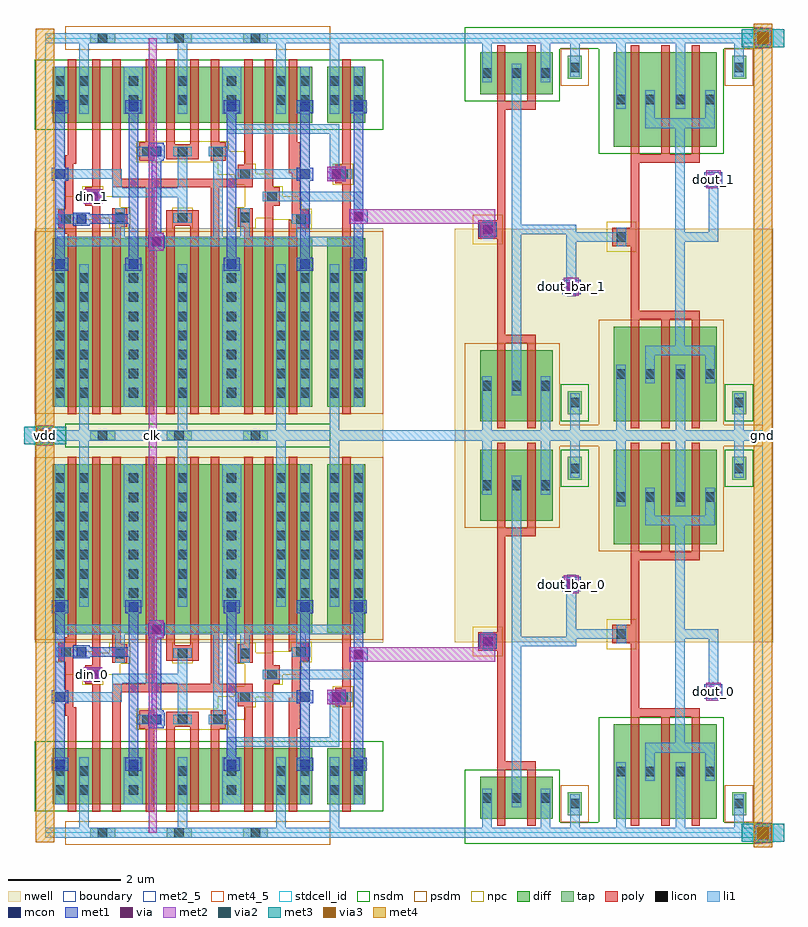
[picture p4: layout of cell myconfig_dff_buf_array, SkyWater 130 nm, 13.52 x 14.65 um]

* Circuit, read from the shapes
.subckt myconfig_dff_buf_array clk din_0 din_1 dout_0 dout_1 dout_bar_0 dout_bar_1 gnd vdd
XM1 gnd n1 n2 gnd sky130_fd_pr__nfet_01v8 w=1 l=0.15
XM2 gnd n3 n4 gnd sky130_fd_pr__nfet_01v8 w=1 l=0.15
XM3 n5 din_0 gnd gnd sky130_fd_pr__nfet_01v8 w=1 l=0.15
XM4 n6 din_1 gnd gnd sky130_fd_pr__nfet_01v8 w=1 l=0.15
XM5 n1 n7 n5 gnd sky130_fd_pr__nfet_01v8 w=1 l=0.15
XM6 n3 n8 n6 gnd sky130_fd_pr__nfet_01v8 w=1 l=0.15
XM7 n9 clk n1 gnd sky130_fd_pr__nfet_01v8 w=1 l=0.15
XM8 n10 clk n3 gnd sky130_fd_pr__nfet_01v8 w=1 l=0.15
XM9 gnd n2 n9 gnd sky130_fd_pr__nfet_01v8 w=1 l=0.15
XM10 gnd n4 n10 gnd sky130_fd_pr__nfet_01v8 w=1 l=0.15
XM11 n11 n2 gnd gnd sky130_fd_pr__nfet_01v8 w=1 l=0.15
XM12 n12 n4 gnd gnd sky130_fd_pr__nfet_01v8 w=1 l=0.15
XM13 myconfig_dff_buf_0_0/sky130_fd_bd_sram__openram_dff_0/QN clk n11 gnd sky130_fd_pr__nfet_01v8 w=1 l=0.15
XM14 myconfig_dff_buf_0_1/sky130_fd_bd_sram__openram_dff_0/QN clk n12 gnd sky130_fd_pr__nfet_01v8 w=1 l=0.15
XM15 n13 n7 myconfig_dff_buf_0_0/sky130_fd_bd_sram__openram_dff_0/QN gnd sky130_fd_pr__nfet_01v8 w=1 l=0.15
XM16 n14 n8 myconfig_dff_buf_0_1/sky130_fd_bd_sram__openram_dff_0/QN gnd sky130_fd_pr__nfet_01v8 w=1 l=0.15
XM17 gnd myconfig_dff_buf_0_0/myconfig_pinv_0_1/A n13 gnd sky130_fd_pr__nfet_01v8 w=1 l=0.15
XM18 gnd myconfig_dff_buf_0_1/myconfig_pinv_0_1/A n14 gnd sky130_fd_pr__nfet_01v8 w=1 l=0.15
XM19 n7 clk gnd gnd sky130_fd_pr__nfet_01v8 w=1 l=0.15
XM20 n8 clk gnd gnd sky130_fd_pr__nfet_01v8 w=1 l=0.15
XM21 myconfig_dff_buf_0_0/myconfig_pinv_0_1/A myconfig_dff_buf_0_0/sky130_fd_bd_sram__openram_dff_0/QN gnd gnd sky130_fd_pr__nfet_01v8 w=1 l=0.15
XM22 myconfig_dff_buf_0_1/myconfig_pinv_0_1/A myconfig_dff_buf_0_1/sky130_fd_bd_sram__openram_dff_0/QN gnd gnd sky130_fd_pr__nfet_01v8 w=1 l=0.15
XM23 dout_bar_0 myconfig_dff_buf_0_0/myconfig_pinv_0_1/A gnd gnd sky130_fd_pr__nfet_01v8 w=0.74 l=0.15 m=2
XM24 dout_bar_1 myconfig_dff_buf_0_1/myconfig_pinv_0_1/A gnd gnd sky130_fd_pr__nfet_01v8 w=0.74 l=0.15 m=2
XM25 dout_0 dout_bar_0 gnd gnd sky130_fd_pr__nfet_01v8 w=1.68 l=0.15 m=3
XM26 dout_1 dout_bar_1 gnd gnd sky130_fd_pr__nfet_01v8 w=1.68 l=0.15 m=3
XM27 vdd n1 n2 vdd sky130_fd_pr__pfet_01v8 w=3 l=0.15
XM28 vdd n3 n4 vdd sky130_fd_pr__pfet_01v8 w=3 l=0.15
XM29 n15 din_0 vdd vdd sky130_fd_pr__pfet_01v8 w=3 l=0.15
XM30 n16 din_1 vdd vdd sky130_fd_pr__pfet_01v8 w=3 l=0.15
XM31 n1 clk n15 vdd sky130_fd_pr__pfet_01v8 w=3 l=0.15
XM32 n3 clk n16 vdd sky130_fd_pr__pfet_01v8 w=3 l=0.15
XM33 n17 n7 n1 vdd sky130_fd_pr__pfet_01v8 w=3 l=0.15
XM34 n18 n8 n3 vdd sky130_fd_pr__pfet_01v8 w=3 l=0.15
XM35 vdd n2 n17 vdd sky130_fd_pr__pfet_01v8 w=3 l=0.15
XM36 vdd n4 n18 vdd sky130_fd_pr__pfet_01v8 w=3 l=0.15
XM37 n19 n2 vdd vdd sky130_fd_pr__pfet_01v8 w=3 l=0.15
XM38 n20 n4 vdd vdd sky130_fd_pr__pfet_01v8 w=3 l=0.15
XM39 myconfig_dff_buf_0_0/sky130_fd_bd_sram__openram_dff_0/QN n7 n19 vdd sky130_fd_pr__pfet_01v8 w=3 l=0.15
XM40 myconfig_dff_buf_0_1/sky130_fd_bd_sram__openram_dff_0/QN n8 n20 vdd sky130_fd_pr__pfet_01v8 w=3 l=0.15
XM41 n21 clk myconfig_dff_buf_0_0/sky130_fd_bd_sram__openram_dff_0/QN vdd sky130_fd_pr__pfet_01v8 w=3 l=0.15
XM42 n22 clk myconfig_dff_buf_0_1/sky130_fd_bd_sram__openram_dff_0/QN vdd sky130_fd_pr__pfet_01v8 w=3 l=0.15
XM43 vdd myconfig_dff_buf_0_0/myconfig_pinv_0_1/A n21 vdd sky130_fd_pr__pfet_01v8 w=3 l=0.15
XM44 vdd myconfig_dff_buf_0_1/myconfig_pinv_0_1/A n22 vdd sky130_fd_pr__pfet_01v8 w=3 l=0.15
XM45 n7 clk vdd vdd sky130_fd_pr__pfet_01v8 w=3 l=0.15
XM46 n8 clk vdd vdd sky130_fd_pr__pfet_01v8 w=3 l=0.15
XM47 myconfig_dff_buf_0_0/myconfig_pinv_0_1/A myconfig_dff_buf_0_0/sky130_fd_bd_sram__openram_dff_0/QN vdd vdd sky130_fd_pr__pfet_01v8 w=3 l=0.15
XM48 myconfig_dff_buf_0_1/myconfig_pinv_0_1/A myconfig_dff_buf_0_1/sky130_fd_bd_sram__openram_dff_0/QN vdd vdd sky130_fd_pr__pfet_01v8 w=3 l=0.15
XM49 dout_bar_0 myconfig_dff_buf_0_0/myconfig_pinv_0_1/A vdd vdd sky130_fd_pr__pfet_01v8 w=1.26 l=0.15 m=2
XM50 dout_bar_1 myconfig_dff_buf_0_1/myconfig_pinv_0_1/A vdd vdd sky130_fd_pr__pfet_01v8 w=1.26 l=0.15 m=2
XM51 dout_0 dout_bar_0 vdd vdd sky130_fd_pr__pfet_01v8 w=1.68 l=0.15 m=3
XM52 dout_1 dout_bar_1 vdd vdd sky130_fd_pr__pfet_01v8 w=1.68 l=0.15 m=3
.ends

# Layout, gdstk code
import gdstk
lib = gdstk.Library(unit=1e-6, precision=1e-09)
def R(c, l, rs):  # rectangles x0, y0, x1, y1
    for r in rs: c.add(gdstk.rectangle(r[:2], r[2:], *l))
def A(c, l, x, y, w, h, nx, ny, dx, dy):  # array of equal rectangles
    R(c, l, [(x+i*dx, y+j*dy, x+i*dx+w, y+j*dy+h) for i in range(nx) for j in range(ny)])
nwell = (64, 20)
diff = (65, 20)
tap = (65, 44)
poly = (66, 20)
licon = (66, 44)
li1 = (67, 20)
mcon = (67, 44)
met1 = (68, 20)
via = (68, 44)
met2_5 = (69, 5)
met2 = (69, 20)
via2 = (69, 44)
met3 = (70, 20)
via3 = (70, 44)
met4_5 = (71, 5)
met4 = (71, 20)
stdcell_id = (81, 4)
nsdm = (93, 44)
psdm = (94, 20)
npc = (95, 20)
boundary = (235, 4)

sky130_fd_bd_sram__openr = lib.new_cell('sky130_fd_bd_sram__openram_dff')
R(sky130_fd_bd_sram__openr, nwell, [(-0.18,3.38,6.02,7.335)])
R(sky130_fd_bd_sram__openr, diff, [(0.14,0.51,4.75,1.51), (5.02,0.51,5.7,1.51), (0.14,3.56,4.75,6.56), (5.02,3.56,5.7,6.56)])
A(sky130_fd_bd_sram__openr, tap, 0.805, -0.085, 0.44, 0.17, 3, 2, 1.36, 7.07)
R(sky130_fd_bd_sram__openr, poly, [(0.405,0.38,0.555,2.085), (0.835,0.38,0.985,2.655), (1.195,0.38,1.345,2.505), (1.795,0.38,1.945,1.855), (2.155,0.38,2.305,1.885), (2.585,0.38,2.735,1.885), (2.945,0.38,3.095,1.855), (3.545,0.38,3.695,2.255), (3.905,0.38,4.055,2.655), (4.335,0.38,4.485,1.855), (5.285,0.38,5.435,2.255), (1.675,1.855,1.945,2.185), (2.945,1.855,3.215,2.185), (4.335,1.855,4.54,2.405), (2.155,1.885,2.735,2.155), (0.355,2.085,0.555,2.235), (0.355,2.235,0.505,3.055), (3.425,2.255,3.695,2.505), (5.165,2.255,5.435,2.585), (4.39,2.405,4.54,3.055), (1.195,2.505,3.695,2.655), (5.285,2.585,5.435,6.69), (0.715,2.655,0.985,2.985), (1.795,2.655,1.945,6.69), (2.945,2.655,3.095,6.69), (3.905,2.655,4.175,2.985), (0.835,2.985,0.985,6.69), (3.905,2.985,4.055,6.69), (1.195,3.03,1.465,3.36), (3.425,3.03,3.695,3.36), (0.235,3.055,0.505,3.335), (4.39,3.055,4.69,3.235), (2.155,3.065,2.735,3.335), (4.335,3.235,4.69,3.385), (0.235,3.335,0.555,3.385), (2.155,3.335,2.305,6.69), (2.585,3.335,2.735,6.69), (1.195,3.36,1.345,6.69), (3.545,3.36,3.695,6.69), (0.35,3.385,0.555,3.485), (4.335,3.385,4.485,6.69), (0.405,3.485,0.555,6.69)])
A(sky130_fd_bd_sram__openr, licon, 0.94, -0.085, 0.17, 0.17, 3, 2, 1.36, 7.07)
A(sky130_fd_bd_sram__openr, licon, 0.61, 0.675, 0.17, 0.17, 5, 2, 0.875, 0.34)
A(sky130_fd_bd_sram__openr, licon, 1.725, 1.935, 0.17, 0.17, 3, 1, 0.635, 0)
A(sky130_fd_bd_sram__openr, licon, 0.18, 4.185, 0.17, 0.17, 1, 7, 0, 0.34)
A(sky130_fd_bd_sram__openr, licon, 0.61, 4.185, 0.17, 0.17, 5, 7, 0.875, 0.34)
A(sky130_fd_bd_sram__openr, licon, 4.54, 4.185, 0.17, 0.17, 1, 7, 0, 0.34)
A(sky130_fd_bd_sram__openr, licon, 5.06, 4.185, 0.17, 0.17, 1, 7, 0, 0.34)
A(sky130_fd_bd_sram__openr, licon, 5.49, 4.185, 0.17, 0.17, 1, 7, 0, 0.34)
R(sky130_fd_bd_sram__openr, licon, [(0.18,0.675,0.35,0.845), (4.54,0.675,4.71,0.845), (5.06,0.675,5.23,0.845), (5.49,0.675,5.66,0.845), (0.18,1.015,0.35,1.185), (4.54,1.015,4.71,1.185), (5.06,1.015,5.23,1.185), (5.49,1.015,5.66,1.185), (3.475,2.335,3.645,2.505), (5.215,2.335,5.385,2.505), (0.765,2.735,0.935,2.905), (3.955,2.735,4.125,2.905), (1.245,3.11,1.415,3.28), (3.475,3.11,3.645,3.28), (2.36,3.115,2.53,3.285), (0.285,3.135,0.455,3.305), (4.47,3.135,4.64,3.305)])
A(sky130_fd_bd_sram__openr, li1, 0.61, 0.09, 0.17, 1.26, 3, 1, 1.75, 0)
A(sky130_fd_bd_sram__openr, li1, 0.61, 4.02, 0.17, 2.96, 3, 1, 1.75, 0)
R(sky130_fd_bd_sram__openr, li1, [(0,-0.09,5.84,0.09), (0,-0.09,5.84,0.09), (5.06,0.09,5.23,1.35), (0.18,0.51,0.35,1.35), (1.4,0.51,1.74,1.35), (3.15,0.51,3.49,1.35), (4.54,0.51,4.71,1.355), (5.49,0.51,5.66,1.355), (3.235,1.35,3.405,1.535), (3.235,1.535,5.23,1.705), (5.06,1.705,5.23,2.335), (1.64,1.935,2.065,2.105), (2.28,1.935,2.61,2.105), (2.915,1.935,3.245,2.105), (2.36,2.105,2.53,2.66), (2.995,2.105,3.165,3.535), (0.18,2.335,1.365,2.505), (3.395,2.335,4.71,2.505), (5.06,2.335,5.465,2.505), (1.195,2.505,1.365,2.66), (1.195,2.66,2.53,2.83), (0.685,2.735,1.015,2.905), (3.875,2.735,5.66,2.905), (2.36,2.83,2.53,3.115), (5.49,2.905,5.66,3.26), (1.245,3.03,1.415,3.535), (3.475,3.03,3.645,3.535), (2.28,3.115,2.61,3.285), (0.205,3.135,0.735,3.305), (4.39,3.135,4.72,3.305), (4.47,3.305,4.64,3.535), (0.205,3.535,5.66,3.705), (0.18,3.935,0.35,6.56), (1.485,3.935,1.655,4.02), (3.235,3.935,3.405,4.02), (4.54,3.935,4.71,6.56), (5.49,3.935,5.66,6.56), (1.4,4.02,1.74,6.56), (3.15,4.02,3.49,6.56), (5.06,4.02,5.23,6.98), (0,6.98,5.84,7.16), (0,6.98,5.84,7.16), (0,6.98,5.84,7.16)])
R(sky130_fd_bd_sram__openr, mcon, [(0.18,1.135,0.35,1.305), (1.485,1.135,1.655,1.305), (3.235,1.135,3.405,1.305), (4.54,1.135,4.71,1.305), (5.49,1.135,5.66,1.305), (1.895,1.935,2.065,2.105), (0.18,2.335,0.35,2.505), (4.54,2.335,4.71,2.505), (5.1,2.335,5.27,2.505), (0.765,2.735,0.935,2.905), (5.49,3.09,5.66,3.26), (0.565,3.135,0.735,3.305), (1.895,3.535,2.065,3.705), (0.18,3.935,0.35,4.105), (1.485,3.935,1.655,4.105), (3.235,3.935,3.405,4.105), (4.54,3.935,4.71,4.105), (5.49,3.935,5.66,4.105)])
R(sky130_fd_bd_sram__openr, met1, [(0.12,1.105,0.41,1.335), (1.425,1.105,1.715,1.335), (3.175,1.105,3.465,1.335), (4.48,1.105,4.77,1.335), (5.43,1.105,5.72,1.335), (0.18,1.335,0.35,2.305), (1.485,1.335,1.655,3.135), (3.235,1.335,3.405,3.905), (4.54,1.335,4.71,2.305), (5.49,1.335,5.66,3.045), (1.845,1.86,2.115,1.905), (1.835,1.905,2.125,2.135), (1.845,2.135,2.115,2.18), (1.895,2.18,2.065,3.46), (5.02,2.29,5.35,2.55), (0.12,2.305,0.41,2.535), (4.48,2.305,4.77,2.535), (0.18,2.535,0.35,3.905), (4.54,2.535,4.71,3.905), (0.685,2.69,1.015,2.95), (5.41,3.045,5.74,3.305), (0.505,3.105,0.795,3.135), (0.505,3.135,1.655,3.305), (0.505,3.305,0.795,3.335), (1.485,3.305,1.655,3.905), (5.49,3.305,5.66,3.905), (1.845,3.46,2.115,3.505), (1.835,3.505,2.125,3.735), (1.845,3.735,2.115,3.78), (0.12,3.905,0.41,4.135), (1.425,3.905,1.715,4.135), (3.175,3.905,3.465,4.135), (4.48,3.905,4.77,4.135), (5.43,3.905,5.72,4.135)])
R(sky130_fd_bd_sram__openr, via, [(5.11,2.345,5.26,2.495), (0.775,2.745,0.925,2.895), (5.5,3.1,5.65,3.25), (1.905,3.545,2.055,3.695)])
R(sky130_fd_bd_sram__openr, met2_5, [(0.685,2.69,1.015,2.95), (5.41,3.045,5.74,3.305), (1.845,3.46,2.115,3.78)])
R(sky130_fd_bd_sram__openr, met2, [(5.02,2.29,5.35,2.55), (0.685,2.69,1.015,2.95), (0.685,2.69,1.015,2.95), (0.685,2.69,1.015,2.95), (5.41,3.045,5.74,3.305), (5.41,3.045,5.74,3.305), (5.41,3.045,5.74,3.305), (1.845,3.46,2.115,3.78), (1.845,3.46,2.115,3.78), (1.845,3.46,2.115,3.78)])
R(sky130_fd_bd_sram__openr, stdcell_id, [(0,0,5.84,7.07)])
R(sky130_fd_bd_sram__openr, nsdm, [(-0.18,0.385,6.02,1.635), (0.36,6.86,5.075,7.07), (0.36,7.07,5.075,7.28)])
R(sky130_fd_bd_sram__openr, psdm, [(0.36,-0.21,5.075,0), (0.36,0,5.075,0.21), (-0.18,3.435,6.02,6.685)])
R(sky130_fd_bd_sram__openr, npc, [(1.625,1.835,3.265,2.01), (1.625,2.01,3.57,2.205), (3.07,2.205,3.57,2.235), (3.07,2.235,3.745,2.41), (5.115,2.235,5.485,2.605), (3.07,2.41,4.05,2.43), (3.375,2.43,4.05,2.605), (3.55,2.605,4.05,2.635), (0.665,2.635,1.035,2.81), (3.55,2.635,4.225,2.81), (0.36,2.81,1.34,3.01), (3.55,2.81,4.565,3.01), (0.36,3.01,1.515,3.035), (3.375,3.01,4.565,3.035), (2.26,3.015,2.63,3.385), (0.185,3.035,1.515,3.205), (3.375,3.035,4.74,3.205), (0.185,3.205,0.86,3.23), (1.145,3.205,1.515,3.38), (3.375,3.205,3.745,3.38), (4.03,3.205,4.74,3.23), (0.185,3.23,0.555,3.405), (4.37,3.23,4.74,3.405)])
R(sky130_fd_bd_sram__openr, boundary, [(0,0,5.84,7.07)])
sky130_fd_bd_sram__openr.add(gdstk.Label('QN', (5.035,2.52), layer=69, texttype=5))
sky130_fd_bd_sram__openr.add(gdstk.Label('CLK', (1.98,3.62), layer=69, texttype=5))
sky130_fd_bd_sram__openr.add(gdstk.Label('D', (0.85,2.82), layer=69, texttype=5))
sky130_fd_bd_sram__openr.add(gdstk.Label('Q', (5.575,3.175), layer=69, texttype=5))
sky130_fd_bd_sram__openr.add(gdstk.Label('VDD', (2.74,7.08), layer=67, texttype=5))
sky130_fd_bd_sram__openr.add(gdstk.Label('GND', (2.72,0), layer=67, texttype=5))
sky130_fd_bd_sram__openr.add(gdstk.Label('D', (0.85,2.82), layer=69, texttype=5))
sky130_fd_bd_sram__openr.add(gdstk.Label('Q', (5.575,3.175), layer=69, texttype=5))
sky130_fd_bd_sram__openr.add(gdstk.Label('clk', (1.98,3.62), layer=69, texttype=5))
sky130_fd_bd_sram__openr.add(gdstk.Label('vdd', (2.92,7.07), layer=67, texttype=5))
sky130_fd_bd_sram__openr.add(gdstk.Label('gnd', (2.92,0), layer=67, texttype=5))

myconfig_contact_11 = lib.new_cell('myconfig_contact_11')
R(myconfig_contact_11, nwell, [(-0.295,-0.255,0.545,0.585)])
R(myconfig_contact_11, diff, [(0,0.02,0.25,0.31)])
R(myconfig_contact_11, licon, [(0.04,0.08,0.21,0.25)])
R(myconfig_contact_11, li1, [(0.04,0,0.21,0.33)])
R(myconfig_contact_11, stdcell_id, [(-0.295,-0.255,0.545,0.585)])
R(myconfig_contact_11, psdm, [(-0.125,-0.105,0.375,0.435)])
R(myconfig_contact_11, boundary, [(-0.295,-0.255,0.545,0.585)])

myconfig_pmos_m2_w1_260_ = lib.new_cell('myconfig_pmos_m2_w1_260_sli_dli_da_p')
R(myconfig_pmos_m2_w1_260_, nwell, [(-0.27,-0.27,1.56,1.53)])
R(myconfig_pmos_m2_w1_260_, diff, [(0,0,1.29,1.26)])
R(myconfig_pmos_m2_w1_260_, poly, [(0.3,-0.28,0.99,-0.13), (0.3,-0.13,0.45,1.39), (0.84,-0.13,0.99,1.39)])
A(myconfig_pmos_m2_w1_260_, li1, 0.04, 0.465, 0.17, 0.33, 3, 1, 0.52, 0)
R(myconfig_pmos_m2_w1_260_, stdcell_id, [(-0.27,-0.28,1.56,1.53)])
R(myconfig_pmos_m2_w1_260_, psdm, [(-0.125,-0.125,1.415,1.385)])
R(myconfig_pmos_m2_w1_260_, boundary, [(-0.27,-0.28,1.56,1.53)])
myconfig_pmos_m2_w1_260_.add(gdstk.Reference(myconfig_contact_11, (0,0.465)))
myconfig_pmos_m2_w1_260_.add(gdstk.Reference(myconfig_contact_11, (0.52,0.465)))
myconfig_pmos_m2_w1_260_.add(gdstk.Reference(myconfig_contact_11, (1.04,0.465)))
myconfig_pmos_m2_w1_260_.add(gdstk.Label('G', (0.645,-0.205), layer=66, texttype=5))
myconfig_pmos_m2_w1_260_.add(gdstk.Label('S', (1.165,0.63), layer=67, texttype=5))
myconfig_pmos_m2_w1_260_.add(gdstk.Label('S', (0.125,0.63), layer=67, texttype=5))
myconfig_pmos_m2_w1_260_.add(gdstk.Label('D', (0.645,0.63), layer=67, texttype=5))

myconfig_contact_10 = lib.new_cell('myconfig_contact_10')
R(myconfig_contact_10, diff, [(0,0.02,0.25,0.31)])
R(myconfig_contact_10, licon, [(0.04,0.08,0.21,0.25)])
R(myconfig_contact_10, li1, [(0.04,0,0.21,0.33)])
R(myconfig_contact_10, stdcell_id, [(-0.125,-0.105,0.375,0.435)])
R(myconfig_contact_10, nsdm, [(-0.125,-0.105,0.375,0.435)])
R(myconfig_contact_10, boundary, [(-0.125,-0.105,0.375,0.435)])

myconfig_nmos_m2_w0_740_ = lib.new_cell('myconfig_nmos_m2_w0_740_sli_dli_da_p')
R(myconfig_nmos_m2_w0_740_, diff, [(0,0,1.29,0.74)])
R(myconfig_nmos_m2_w0_740_, poly, [(0.3,-0.13,0.45,0.87), (0.84,-0.13,0.99,0.87), (0.3,0.87,0.99,1.02)])
A(myconfig_nmos_m2_w0_740_, li1, 0.04, 0.205, 0.17, 0.33, 3, 1, 0.52, 0)
R(myconfig_nmos_m2_w0_740_, stdcell_id, [(-0.125,-0.13,1.415,1.02)])
R(myconfig_nmos_m2_w0_740_, nsdm, [(-0.125,-0.125,1.415,0.865)])
R(myconfig_nmos_m2_w0_740_, boundary, [(-0.125,-0.13,1.415,1.02)])
myconfig_nmos_m2_w0_740_.add(gdstk.Reference(myconfig_contact_10, (0,0.205)))
myconfig_nmos_m2_w0_740_.add(gdstk.Reference(myconfig_contact_10, (0.52,0.205)))
myconfig_nmos_m2_w0_740_.add(gdstk.Reference(myconfig_contact_10, (1.04,0.205)))
myconfig_nmos_m2_w0_740_.add(gdstk.Label('G', (0.645,0.945), layer=66, texttype=5))
myconfig_nmos_m2_w0_740_.add(gdstk.Label('S', (0.125,0.37), layer=67, texttype=5))
myconfig_nmos_m2_w0_740_.add(gdstk.Label('S', (1.165,0.37), layer=67, texttype=5))
myconfig_nmos_m2_w0_740_.add(gdstk.Label('D', (0.645,0.37), layer=67, texttype=5))

myconfig_contact_28 = lib.new_cell('myconfig_contact_28')
R(myconfig_contact_28, nwell, [(-0.295,-0.215,0.545,0.625)])
R(myconfig_contact_28, tap, [(0,0,0.25,0.41)])
R(myconfig_contact_28, licon, [(0.04,0.12,0.21,0.29)])
R(myconfig_contact_28, li1, [(0.04,0.04,0.21,0.37)])
R(myconfig_contact_28, stdcell_id, [(-0.295,-0.215,0.545,0.625)])
R(myconfig_contact_28, nsdm, [(-0.125,-0.125,0.375,0.535)])
R(myconfig_contact_28, boundary, [(-0.295,-0.215,0.545,0.625)])

myconfig_contact_29 = lib.new_cell('myconfig_contact_29')
R(myconfig_contact_29, tap, [(0,0,0.25,0.41)])
R(myconfig_contact_29, licon, [(0.04,0.12,0.21,0.29)])
R(myconfig_contact_29, li1, [(0.04,0.04,0.21,0.37)])
R(myconfig_contact_29, stdcell_id, [(-0.125,-0.125,0.375,0.535)])
R(myconfig_contact_29, psdm, [(-0.125,-0.125,0.375,0.535)])
R(myconfig_contact_29, boundary, [(-0.125,-0.125,0.375,0.535)])

myconfig_contact_15 = lib.new_cell('myconfig_contact_15')
R(myconfig_contact_15, poly, [(0,0,0.33,0.33)])
R(myconfig_contact_15, licon, [(0.08,0.08,0.25,0.25)])
R(myconfig_contact_15, li1, [(0.08,0,0.25,0.33)])
R(myconfig_contact_15, stdcell_id, [(-0.1,-0.1,0.43,0.43)])
R(myconfig_contact_15, npc, [(-0.1,-0.1,0.43,0.43)])
R(myconfig_contact_15, boundary, [(-0.1,-0.1,0.43,0.43)])

myconfig_pinv_0 = lib.new_cell('myconfig_pinv_0')
R(myconfig_pinv_0, nwell, [(-0.18,3.395,2.56,7.355)])
R(myconfig_pinv_0, poly, [(0.57,1.275,0.72,5.275), (0.405,3.24,0.57,3.57)])
R(myconfig_pinv_0, li1, [(0,-0.085,2.38,0.085), (0.31,-0.085,0.48,0.46), (1.35,-0.085,1.52,0.46), (1.87,0,2.04,0.52), (0.83,0.46,1,6.35), (0.32,3.24,0.49,3.57), (0.915,3.32,1.085,3.49), (0.31,6.02,0.48,7.155), (1.35,6.02,1.52,7.155), (1.87,6.485,2.04,7.07), (0,6.985,2.38,7.155)])
R(myconfig_pinv_0, stdcell_id, [(0,0,2.38,7.07), (0,0,2.38,7.07)])
R(myconfig_pinv_0, nsdm, [(0,-0.19,2.38,0.19), (0,0,1.685,1.12)])
R(myconfig_pinv_0, psdm, [(0,5.43,1.685,7.07), (0,6.88,2.38,7.26)])
R(myconfig_pinv_0, boundary, [(0,0,2.38,7.07), (0,0,2.38,7.07)])
myconfig_pinv_0.add(gdstk.Reference(myconfig_pmos_m2_w1_260_, (0.27,5.555)))
myconfig_pinv_0.add(gdstk.Reference(myconfig_nmos_m2_w0_740_, (0.27,0.255)))
myconfig_pinv_0.add(gdstk.Reference(myconfig_contact_28, (1.83,6.28)))
myconfig_pinv_0.add(gdstk.Reference(myconfig_contact_29, (1.83,0.315)))
myconfig_pinv_0.add(gdstk.Reference(myconfig_contact_15, (0.24,3.24)))
myconfig_pinv_0.add(gdstk.Label('A', (0.405,3.405), layer=67, texttype=5))
myconfig_pinv_0.add(gdstk.Label('Z', (1,3.405), layer=67, texttype=5))
myconfig_pinv_0.add(gdstk.Label('gnd', (1.19,0), layer=67, texttype=5))
myconfig_pinv_0.add(gdstk.Label('vdd', (1.19,7.07), layer=67, texttype=5))

myconfig_pmos_m3_w1_680_ = lib.new_cell('myconfig_pmos_m3_w1_680_sli_dli_da_p')
R(myconfig_pmos_m3_w1_680_, nwell, [(-0.27,-0.27,2.1,1.95)])
R(myconfig_pmos_m3_w1_680_, diff, [(0,0,1.83,1.68)])
A(myconfig_pmos_m3_w1_680_, poly, 0.3, -0.13, 0.15, 1.94, 3, 1, 0.54, 0)
R(myconfig_pmos_m3_w1_680_, poly, [(0.3,-0.28,1.53,-0.13)])
R(myconfig_pmos_m3_w1_680_, li1, [(0.56,0.335,1.79,0.505), (0.56,0.42,0.73,0.84), (1.62,0.42,1.79,0.84), (0.04,0.675,0.21,1.005), (1.1,0.675,1.27,1.005)])
R(myconfig_pmos_m3_w1_680_, stdcell_id, [(-0.27,-0.28,2.1,1.95)])
R(myconfig_pmos_m3_w1_680_, psdm, [(-0.125,-0.125,1.955,1.805)])
R(myconfig_pmos_m3_w1_680_, boundary, [(-0.27,-0.28,2.1,1.95)])
myconfig_pmos_m3_w1_680_.add(gdstk.Reference(myconfig_contact_11, (0,0.675)))
myconfig_pmos_m3_w1_680_.add(gdstk.Reference(myconfig_contact_11, (0.52,0.675)))
myconfig_pmos_m3_w1_680_.add(gdstk.Reference(myconfig_contact_11, (1.06,0.675)))
myconfig_pmos_m3_w1_680_.add(gdstk.Reference(myconfig_contact_11, (1.58,0.675)))
myconfig_pmos_m3_w1_680_.add(gdstk.Label('G', (0.915,-0.205), layer=66, texttype=5))
myconfig_pmos_m3_w1_680_.add(gdstk.Label('S', (0.125,0.84), layer=67, texttype=5))
myconfig_pmos_m3_w1_680_.add(gdstk.Label('S', (1.185,0.84), layer=67, texttype=5))
myconfig_pmos_m3_w1_680_.add(gdstk.Label('D', (1.175,0.42), layer=67, texttype=5))

myconfig_nmos_m3_w1_680_ = lib.new_cell('myconfig_nmos_m3_w1_680_sli_dli_da_p')
R(myconfig_nmos_m3_w1_680_, diff, [(0,0,1.83,1.68)])
A(myconfig_nmos_m3_w1_680_, poly, 0.3, -0.13, 0.15, 1.94, 3, 1, 0.54, 0)
R(myconfig_nmos_m3_w1_680_, poly, [(0.3,1.81,1.53,1.96)])
R(myconfig_nmos_m3_w1_680_, li1, [(0.04,0.675,0.21,1.005), (1.1,0.675,1.27,1.005), (0.56,0.84,0.73,1.26), (1.62,0.84,1.79,1.26), (0.56,1.175,1.79,1.345)])
R(myconfig_nmos_m3_w1_680_, stdcell_id, [(-0.125,-0.13,1.955,1.96)])
R(myconfig_nmos_m3_w1_680_, nsdm, [(-0.125,-0.125,1.955,1.805)])
R(myconfig_nmos_m3_w1_680_, boundary, [(-0.125,-0.13,1.955,1.96)])
myconfig_nmos_m3_w1_680_.add(gdstk.Reference(myconfig_contact_10, (0,0.675)))
myconfig_nmos_m3_w1_680_.add(gdstk.Reference(myconfig_contact_10, (0.52,0.675)))
myconfig_nmos_m3_w1_680_.add(gdstk.Reference(myconfig_contact_10, (1.06,0.675)))
myconfig_nmos_m3_w1_680_.add(gdstk.Reference(myconfig_contact_10, (1.58,0.675)))
myconfig_nmos_m3_w1_680_.add(gdstk.Label('G', (0.915,1.885), layer=66, texttype=5))
myconfig_nmos_m3_w1_680_.add(gdstk.Label('S', (0.125,0.84), layer=67, texttype=5))
myconfig_nmos_m3_w1_680_.add(gdstk.Label('S', (1.185,0.84), layer=67, texttype=5))
myconfig_nmos_m3_w1_680_.add(gdstk.Label('D', (1.175,1.26), layer=67, texttype=5))

myconfig_pinv_1 = lib.new_cell('myconfig_pinv_1')
R(myconfig_pinv_1, nwell, [(-0.18,3.395,3.1,7.355)])
R(myconfig_pinv_1, poly, [(0.57,2.215,0.72,4.855), (0.405,3.37,0.57,3.7)])
R(myconfig_pinv_1, li1, [(0,-0.085,2.92,0.085), (0.31,-0.085,0.48,0.93), (1.37,-0.085,1.54,0.93), (2.41,0,2.58,0.52), (1.36,1.43,1.53,5.64), (0.32,3.37,0.49,3.7), (1.445,3.45,1.615,3.62), (0.31,5.81,0.48,7.155), (1.37,5.81,1.54,7.155), (2.41,6.485,2.58,7.07), (0,6.985,2.92,7.155)])
R(myconfig_pinv_1, stdcell_id, [(0,0,2.92,7.07), (0,0,2.92,7.07)])
R(myconfig_pinv_1, nsdm, [(0,-0.19,2.92,0.19), (0,0,2.225,2.06)])
R(myconfig_pinv_1, psdm, [(0,5.01,2.225,7.07), (0,6.88,2.92,7.26)])
R(myconfig_pinv_1, boundary, [(0,0,2.92,7.07), (0,0,2.92,7.07)])
myconfig_pinv_1.add(gdstk.Reference(myconfig_pmos_m3_w1_680_, (0.27,5.135)))
myconfig_pinv_1.add(gdstk.Reference(myconfig_nmos_m3_w1_680_, (0.27,0.255)))
myconfig_pinv_1.add(gdstk.Reference(myconfig_contact_28, (2.37,6.28)))
myconfig_pinv_1.add(gdstk.Reference(myconfig_contact_29, (2.37,0.315)))
myconfig_pinv_1.add(gdstk.Reference(myconfig_contact_15, (0.24,3.37)))
myconfig_pinv_1.add(gdstk.Label('A', (0.405,3.535), layer=67, texttype=5))
myconfig_pinv_1.add(gdstk.Label('Z', (1.53,3.535), layer=67, texttype=5))
myconfig_pinv_1.add(gdstk.Label('gnd', (1.46,0), layer=67, texttype=5))
myconfig_pinv_1.add(gdstk.Label('vdd', (1.46,7.07), layer=67, texttype=5))

myconfig_contact_13 = lib.new_cell('myconfig_contact_13')
R(myconfig_contact_13, li1, [(0.06,0,0.23,0.33)])
R(myconfig_contact_13, mcon, [(0.06,0.08,0.23,0.25)])
R(myconfig_contact_13, met1, [(0,0.05,0.29,0.28)])
R(myconfig_contact_13, stdcell_id, [(0,0,0.29,0.33)])
R(myconfig_contact_13, boundary, [(0,0,0.29,0.33)])

myconfig_contact_18 = lib.new_cell('myconfig_contact_18')
R(myconfig_contact_18, met1, [(0,0.03,0.32,0.29)])
R(myconfig_contact_18, via, [(0.085,0.085,0.235,0.235)])
R(myconfig_contact_18, met2, [(0.03,0,0.29,0.32)])
R(myconfig_contact_18, stdcell_id, [(0,0,0.32,0.32)])
R(myconfig_contact_18, boundary, [(0,0,0.32,0.32)])

myconfig_dff_buf_0 = lib.new_cell('myconfig_dff_buf_0')
R(myconfig_dff_buf_0, li1, [(0,-0.09,12.77,0.09), (11.805,2.515,11.975,3.535), (8.47,3.32,9.36,3.49), (9.275,3.32,9.445,3.49), (9.275,3.405,9.445,3.535), (9.275,3.405,9.445,4.425), (9.275,3.45,9.445,3.62), (9.36,3.45,10.255,3.62), (11.38,3.45,11.89,3.62), (11.805,3.45,11.975,3.62), (0,6.98,12.77,7.16)])
R(myconfig_dff_buf_0, met1, [(11.73,2.385,12.05,2.645), (7.715,3.275,8.035,3.535), (9.205,4.295,9.525,4.555)])
R(myconfig_dff_buf_0, met2_5, [(11.82,2.445,11.96,2.585), (0.685,2.69,1.015,2.95), (1.845,3.46,2.115,3.78), (9.29,4.355,9.43,4.495)])
R(myconfig_dff_buf_0, met2, [(11.82,2.445,11.96,2.585), (0.685,2.69,1.015,2.95), (5.575,3.045,7.875,3.305), (7.745,3.045,8.005,3.305), (7.745,3.175,8.005,3.405), (1.845,3.46,2.115,3.78), (9.29,4.355,9.43,4.495)])
R(myconfig_dff_buf_0, stdcell_id, [(0,0,12.77,7.07)])
R(myconfig_dff_buf_0, boundary, [(0,0,12.77,7.07)])
myconfig_dff_buf_0.add(gdstk.Reference(sky130_fd_bd_sram__openr, (0,0)))
myconfig_dff_buf_0.add(gdstk.Reference(myconfig_pinv_0, (7.47,0)))
myconfig_dff_buf_0.add(gdstk.Reference(myconfig_pinv_1, (9.85,0)))
myconfig_dff_buf_0.add(gdstk.Reference(myconfig_contact_13, (7.73,3.24)))
myconfig_dff_buf_0.add(gdstk.Reference(myconfig_contact_18, (7.715,3.245)))
myconfig_dff_buf_0.add(gdstk.Reference(myconfig_contact_13, (11.745,2.35)))
myconfig_dff_buf_0.add(gdstk.Reference(myconfig_contact_18, (11.73,2.355)))
myconfig_dff_buf_0.add(gdstk.Reference(myconfig_contact_13, (9.22,4.26)))
myconfig_dff_buf_0.add(gdstk.Reference(myconfig_contact_18, (9.2,4.265)))
myconfig_dff_buf_0.add(gdstk.Label('vdd', (6.385,7.07), layer=67, texttype=5))
myconfig_dff_buf_0.add(gdstk.Label('gnd', (6.385,0), layer=67, texttype=5))
myconfig_dff_buf_0.add(gdstk.Label('clk', (1.98,3.62), layer=69, texttype=5))
myconfig_dff_buf_0.add(gdstk.Label('D', (0.85,2.82), layer=69, texttype=5))
myconfig_dff_buf_0.add(gdstk.Label('Q', (11.89,2.515), layer=69, texttype=5))
myconfig_dff_buf_0.add(gdstk.Label('Qb', (9.36,4.425), layer=69, texttype=5))

myconfig_contact_21 = lib.new_cell('myconfig_contact_21')
R(myconfig_contact_21, met2, [(0.025,0,0.305,0.37)])
R(myconfig_contact_21, via2, [(0.065,0.085,0.265,0.285)])
R(myconfig_contact_21, met3, [(0,0.02,0.33,0.35)])
R(myconfig_contact_21, stdcell_id, [(0,0,0.33,0.37)])
R(myconfig_contact_21, boundary, [(0,0,0.33,0.37)])

myconfig_contact_22 = lib.new_cell('myconfig_contact_22')
R(myconfig_contact_22, met3, [(0,0.005,0.38,0.325)])
R(myconfig_contact_22, via3, [(0.09,0.065,0.29,0.265)])
R(myconfig_contact_22, met4, [(0.025,0,0.355,0.33)])
R(myconfig_contact_22, stdcell_id, [(0,0,0.38,0.33)])
R(myconfig_contact_22, boundary, [(0,0,0.38,0.33)])

myconfig_dff_buf_array = lib.new_cell('myconfig_dff_buf_array')
R(myconfig_dff_buf_array, li1, [(0,-0.09,12.77,0.09), (0,6.98,12.77,7.16), (0,6.98,12.77,7.16), (0,14.05,12.77,14.23)])
R(myconfig_dff_buf_array, met1, [(12.61,-0.13,12.93,0.13), (-0.16,6.94,0.16,7.2), (-0.16,6.94,0.16,7.2), (12.61,14.01,12.93,14.27)])
R(myconfig_dff_buf_array, met2_5, [(1.845,0,1.985,14.14), (11.82,2.445,11.96,2.585), (0.685,2.69,1.015,2.95), (9.29,4.355,9.43,4.495), (9.29,9.645,9.43,9.785), (0.685,11.19,1.015,11.45), (11.82,11.555,11.96,11.695)])
R(myconfig_dff_buf_array, met2, [(12.63,-0.12,12.91,0.12), (1.845,0,1.985,14.14), (11.82,2.445,11.96,2.585), (0.685,2.69,1.015,2.95), (9.29,4.355,9.43,4.495), (-0.14,6.95,0.14,7.19), (-0.14,6.95,0.14,7.19), (9.29,9.645,9.43,9.785), (0.685,11.19,1.015,11.45), (11.82,11.555,11.96,11.695), (12.63,14.02,12.91,14.26)])
R(myconfig_dff_buf_array, met3, [(12.395,-0.16,13.145,0.16), (-0.375,6.91,0.375,7.23), (-0.375,6.91,0.375,7.23), (12.395,13.98,13.145,14.3)])
R(myconfig_dff_buf_array, met4_5, [(12.605,-0.255,12.935,14.395), (-0.165,-0.165,0.165,14.305)])
R(myconfig_dff_buf_array, met4, [(12.605,-0.255,12.935,14.395), (-0.165,-0.165,0.165,14.305)])
R(myconfig_dff_buf_array, stdcell_id, [(0,0,12.77,14.14)])
R(myconfig_dff_buf_array, boundary, [(0,0,12.77,14.14)])
myconfig_dff_buf_array.add(gdstk.Reference(myconfig_dff_buf_0, (0,0)))
myconfig_dff_buf_array.add(gdstk.Reference(myconfig_dff_buf_0, (0,14.14), x_reflection=True))
myconfig_dff_buf_array.add(gdstk.Reference(myconfig_contact_13, (-0.145,6.905)))
myconfig_dff_buf_array.add(gdstk.Reference(myconfig_contact_18, (-0.16,6.91)))
myconfig_dff_buf_array.add(gdstk.Reference(myconfig_contact_21, (-0.165,6.885)))
myconfig_dff_buf_array.add(gdstk.Reference(myconfig_contact_22, (-0.19,6.905)))
myconfig_dff_buf_array.add(gdstk.Reference(myconfig_contact_13, (-0.145,6.905)))
myconfig_dff_buf_array.add(gdstk.Reference(myconfig_contact_18, (-0.16,6.91)))
myconfig_dff_buf_array.add(gdstk.Reference(myconfig_contact_21, (-0.165,6.885)))
myconfig_dff_buf_array.add(gdstk.Reference(myconfig_contact_22, (-0.19,6.905)))
myconfig_dff_buf_array.add(gdstk.Reference(myconfig_contact_13, (12.625,-0.165)))
myconfig_dff_buf_array.add(gdstk.Reference(myconfig_contact_18, (12.61,-0.16)))
myconfig_dff_buf_array.add(gdstk.Reference(myconfig_contact_21, (12.605,-0.185)))
myconfig_dff_buf_array.add(gdstk.Reference(myconfig_contact_22, (12.58,-0.165)))
myconfig_dff_buf_array.add(gdstk.Reference(myconfig_contact_13, (12.625,13.975)))
myconfig_dff_buf_array.add(gdstk.Reference(myconfig_contact_18, (12.61,13.98)))
myconfig_dff_buf_array.add(gdstk.Reference(myconfig_contact_21, (12.605,13.955)))
myconfig_dff_buf_array.add(gdstk.Reference(myconfig_contact_22, (12.58,13.975)))
myconfig_dff_buf_array.add(gdstk.Label('vdd', (0,7.07), layer=71, texttype=5))
myconfig_dff_buf_array.add(gdstk.Label('gnd', (12.77,7.07), layer=71, texttype=5))
myconfig_dff_buf_array.add(gdstk.Label('din_0', (0.85,2.82), layer=69, texttype=5))
myconfig_dff_buf_array.add(gdstk.Label('dout_0', (11.89,2.515), layer=69, texttype=5))
myconfig_dff_buf_array.add(gdstk.Label('dout_bar_0', (9.36,4.425), layer=69, texttype=5))
myconfig_dff_buf_array.add(gdstk.Label('din_1', (0.85,11.32), layer=69, texttype=5))
myconfig_dff_buf_array.add(gdstk.Label('dout_1', (11.89,11.625), layer=69, texttype=5))
myconfig_dff_buf_array.add(gdstk.Label('dout_bar_1', (9.36,9.715), layer=69, texttype=5))
myconfig_dff_buf_array.add(gdstk.Label('clk', (1.915,7.07), layer=69, texttype=5))

lib.write_gds('myconfig_dff_buf_array.gds')
